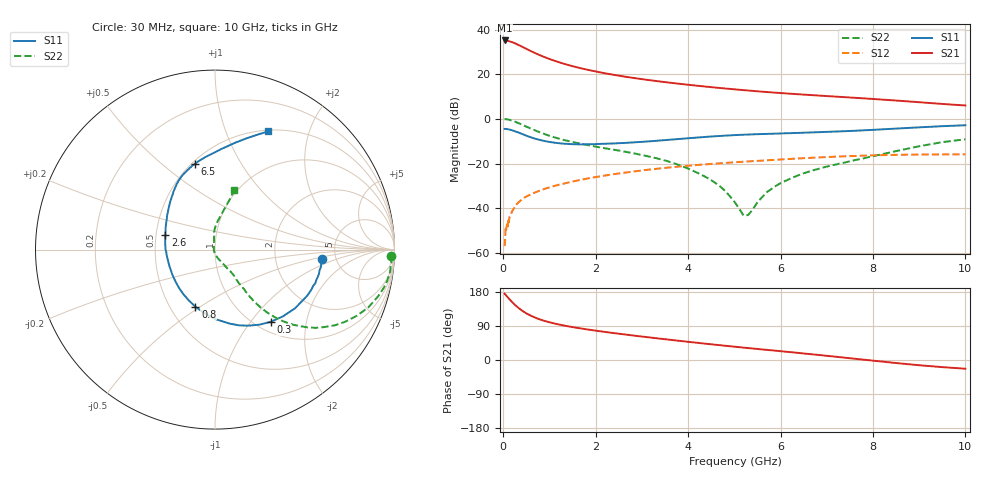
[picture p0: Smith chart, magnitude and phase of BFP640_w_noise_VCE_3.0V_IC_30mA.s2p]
! Infineon Technologies  Discrete & RF Semiconductors
! BFP640
! VCE =  3.0 V,  IC =  30 mA
! Common Emitter S-Parameters:  Apr 2013
# GHz  S  MA  R  50
!  f  S11  S21  S12  S22
! GHz  MAG  ANG  MAG  ANG  MAG  ANG  MAG  ANG
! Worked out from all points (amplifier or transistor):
!   99 points, 30 MHz to 10 GHz, reference 50 ohm
!   highest |S21| = 35.2 dB at 30 MHz (marker M1)
!   |S21| within 3 dB of that: start of sweep to 427 MHz
!   unconditionally stable (mu >= 1): 2.257 GHz to end of sweep
!   at 350 MHz: K = 0.37, MSG = 35.0 dB, |S12| = -37.1 dB
!   at 3.5 GHz: K = 1.05, MAG = 17.9 dB, |S12| = -22.0 dB
!   at 10 GHz: K = 1.06, MAG = 9.4 dB, |S12| = -15.9 dB
!   lowest NFmin = 1.07 dB at 450 MHz
!   S11 on the Smith chart (normalised r, x): 30 MHz: 3.85, -0.65; 300 MHz: 1.17, -1.26; 800 MHz: 0.67, -0.48; 2.6 GHz: 0.56, +0.10; 6.5 GHz: 0.52, +0.65; 10 GHz: 0.52, +1.42
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0.03  0.5976 -5.2  57.56 174.9  0.0014 83.9  0.9805 -2.1
0.08  0.5931 -14.7  56.71 168.0  0.0042 91.2  0.9816 -8.1
0.15  0.5716 -27.6  54.5 158.4  0.0067 81.5  0.9468 -15.8
0.2  0.5528 -36.3  52.36 152.0  0.0088 75.3  0.9127 -20.7
0.25  0.5306 -44.5  49.95 145.9  0.0105 73.6  0.8729 -24.9
0.3  0.5081 -52.3  47.28 140.5  0.0125 71.7  0.8306 -28.9
0.4  0.4626 -66.4  42.11 130.9  0.0155 68.6  0.7469 -35.3
0.5  0.4204 -78.8  37.37 123.1  0.0182 65.9  0.6712 -40.2
0.6  0.3867 -89.9  33.19 116.7  0.0204 63.7  0.6042 -43.9
0.7  0.358 -99.8  29.67 111.4  0.0227 63.3  0.5478 -46.6
0.8  0.3362 -109.0  26.71 106.8  0.0249 62.6  0.4972 -48.7
1  0.305 -125.1  22.11 99.6  0.0291 61.0  0.4196 -51.5
1.2  0.2855 -138.7  18.77 93.8  0.0334 60.3  0.3629 -53.0
1.7  0.2691 -165.2  13.56 82.9  0.0435 57.7  0.2743 -53.7
2.1  0.2759 179.3  11.07 75.8  0.0516 55.5  0.229 -54.6
2.6  0.2888 163.5  8.991 67.9  0.0618 52.3  0.1866 -54.2
3.4  0.3292 143.9  6.898 56.2  0.0777 46.0  0.1247 -57.0
5.1  0.4379 116.9  4.521 33.9  0.1081 31.2  0.0099 -120.1
6.5  0.4916 103.1  3.516 17.2  0.1316 19.1  0.0604 95.3
6.7  0.4997 100.9  3.41 14.8  0.135 17.2  0.0702 94.1
8.5  0.6075 79.1  2.585 -8.0  0.1566 -0.9  0.1897 80.7
10  0.722 65.8  2.002 -23.0  0.161 -13.0  0.3496 72.3
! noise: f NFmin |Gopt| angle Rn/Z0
0.45  1.07  0.19  -171  0.03
0.9  1.08  0.2  -159  0.04
1.5  1.09  0.23  -144  0.06
1.9  1.1  0.24  -135  0.07
2.4  1.13  0.27  -122  0.09
3.5  1.26  0.31  -105  0.13
5.5  1.46  0.33  -92  0.21
10  1.93  0.6  -52  0.58
